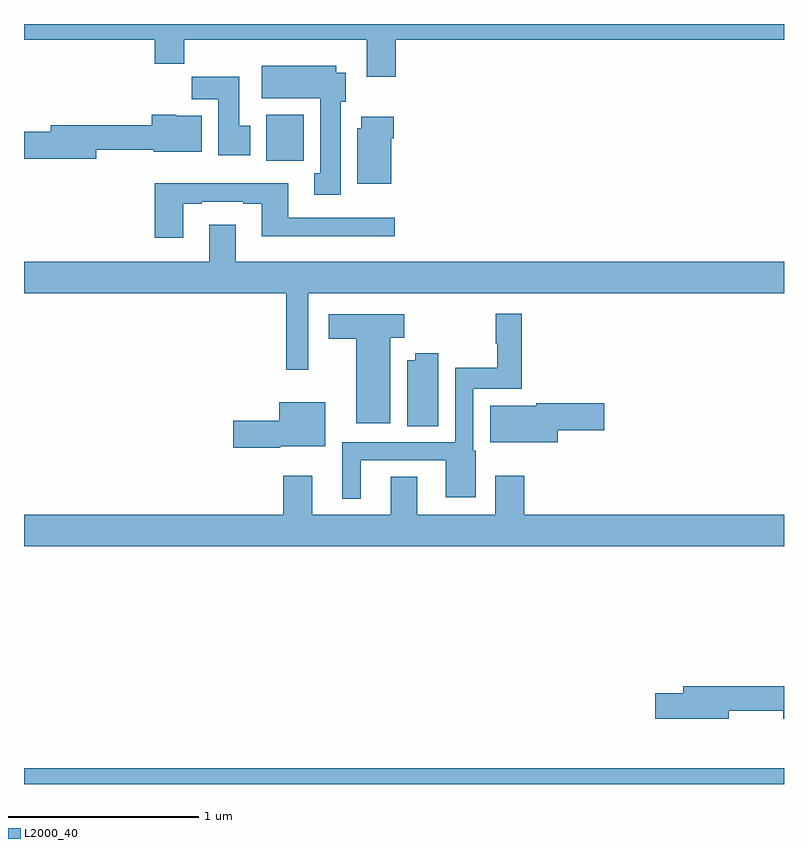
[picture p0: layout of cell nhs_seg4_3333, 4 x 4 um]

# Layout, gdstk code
import gdstk
lib = gdstk.Library(unit=1e-6, precision=1e-09)
def R(c, l, rs):  # rectangles x0, y0, x1, y1
    for r in rs: c.add(gdstk.rectangle(r[:2], r[2:], *l))
def P(c, l, *ps):  # polygons
    for p in ps: c.add(gdstk.Polygon(p, *l))
L2000_40 = (2000, 40)

nhs_seg4_3333 = lib.new_cell('nhs_seg4_3333')
R(nhs_seg4_3333, L2000_40, [(287,796.9,291,796.984), (288.275,800.18,288.472,800.422)])
P(nhs_seg4_3333, L2000_40, [(288.956,800.816),(291,800.816),(291,800.9),(287,800.9),(287,800.816),(287.687,800.816),(287.687,800.692),(287.843,800.692),(287.843,800.816),(288.803,800.816),(288.803,800.622),(288.956,800.622)],
  [(288.667,800.49),(288.694,800.49),(288.694,800.644),(288.643,800.644),(288.643,800.68),(288.251,800.68),(288.251,800.51),(288.56,800.51),(288.56,800.114),(288.527,800.114),(288.527,800.001),(288.667,800.001)],
  [(288.19,800.364),(288.133,800.364),(288.133,800.622),(287.884,800.622),(287.884,800.504),(288.023,800.504),(288.023,800.208),(288.19,800.208)],
  [(287.38,800.239),(287.684,800.239),(287.684,800.228),(287.935,800.228),(287.935,800.416),(287.802,800.416),(287.802,800.422),(287.672,800.422),(287.672,800.368),(287.141,800.368),(287.141,800.334),(287,800.334),(287,800.192),(287.38,800.192)],
  [(288.934,800.3),(288.947,800.3),(288.947,800.413),(288.776,800.413),(288.776,800.352),(288.755,800.352),(288.755,800.06),(288.934,800.06)],
  [(287.839,799.953),(287.935,799.953),(287.935,799.965),(288.155,799.965),(288.155,799.953),(288.251,799.953),(288.251,799.784),(288.952,799.784),(288.952,799.881),(288.391,799.881),(288.391,800.062),(287.687,800.062),(287.687,799.776),(287.839,799.776)],
  [(288.495,799.484),(291,799.484),(291,799.648),(288.115,799.648),(288.115,799.843),(287.975,799.843),(287.975,799.648),(287,799.648),(287,799.484),(288.379,799.484),(288.379,799.08),(288.495,799.08)],
  [(288.772,798.603),(289.22,798.603),(289.22,798.41),(289.378,798.41),(289.378,798.655),(289.365,798.655),(289.365,798.981),(289.619,798.981),(289.619,799.375),(289.483,799.375),(289.483,799.218),(289.491,799.218),(289.491,799.09),(289.269,799.09),(289.269,798.699),(288.674,798.699),(288.674,798.402),(288.772,798.402)],
  [(288.928,799.25),(289,799.25),(289,799.372),(288.603,799.372),(288.603,799.243),(288.749,799.243),(288.749,798.8),(288.928,798.8)],
  [(289.18,799.168),(289.058,799.168),(289.058,799.129),(289.016,799.129),(289.016,798.784),(289.18,798.784)],
  [(288.348,798.677),(288.586,798.677),(288.586,798.91),(288.344,798.91),(288.344,798.812),(288.102,798.812),(288.102,798.67),(288.348,798.67)],
  [(289.81,798.763),(290.053,798.763),(290.053,798.905),(289.696,798.905),(289.696,798.892),(289.454,798.892),(289.454,798.698),(289.81,798.698)],
  [(291,798.316),(289.634,798.316),(289.634,798.523),(289.481,798.523),(289.481,798.316),(289.069,798.316),(289.069,798.518),(288.929,798.518),(288.929,798.316),(288.517,798.316),(288.517,798.523),(288.365,798.523),(288.365,798.316),(287,798.316),(287,798.152),(291,798.152)],
  [(290.71,797.286),(290.996,797.286),(290.996,797.243),(291,797.243),(291,797.414),(290.471,797.414),(290.471,797.378),(290.322,797.378),(290.322,797.243),(290.71,797.243)])

lib.write_gds('nhs_seg4_3333.gds')
